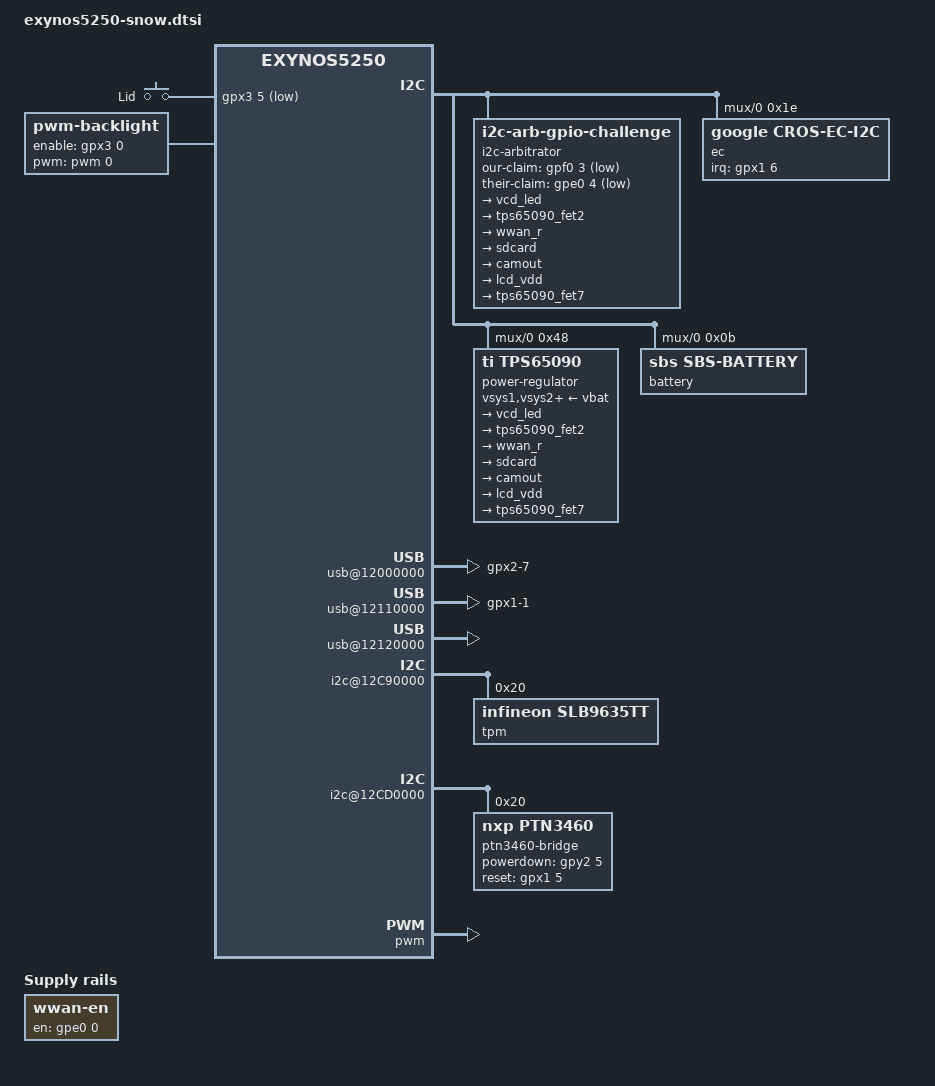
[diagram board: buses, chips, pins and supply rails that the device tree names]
/*
 * Google Snow board device tree source
 *
 * Copyright (c) 2012 Google, Inc
 *
 * This program is free software; you can redistribute it and/or modify
 * it under the terms of the GNU General Public License version 2 as
 * published by the Free Software Foundation.
*/

/ {
	aliases {
		i2c104 = &i2c_104;
	};

	pinctrl@11400000 {
		sd3_clk: sd3-clk {
			samsung,pin-drv = <0>;
		};

		sd3_cmd: sd3-cmd {
			samsung,pin-pud = <3>;
			samsung,pin-drv = <0>;
		};

		sd3_bus4: sd3-bus-width4 {
			samsung,pin-drv = <0>;
		};

		ec_irq: ec-irq {
			samsung,pins = "gpx1-6";
			samsung,pin-function = <0>;
			samsung,pin-pud = <0>;
			samsung,pin-drv = <0>;
		};

		lid_irq: lid-irq {
			samsung,pins = "gpx3-5";
			samsung,pin-function = <0>;
			samsung,pin-pud = <0>;
			samsung,pin-drv = <0>;
		};

		ptn3460_gpios: ptn3460-gpios {
			samsung,pins = "gpy2-5", "gpx1-5";
			samsung,pin-function = <1>;
			samsung,pin-pud = <0>;
			samsung,pin-drv = <0>;
		};

		tps65090_irq: tps65090-irq {
			samsung,pins = "gpx2-6";
			samsung,pin-function = <0>;
			samsung,pin-pud = <0>;
			samsung,pin-drv = <0>;
		};

		usb2_vbus_en: usb2-vbus-en {
			samsung,pins = "gpx1-1";
			samsung,pin-function = <1>;
			samsung,pin-pud = <0>;
			samsung,pin-drv = <0>;
		};

		usb3_phyclk_en: usb3-phyclk-en {
			samsung,pins = "gpy1-1";
			samsung,pin-function = <1>;
			samsung,pin-pud = <0>;
			samsung,pin-drv = <0>;
		};

		usb3_vbus_en: usb3-vbus-en {
			samsung,pins = "gpx2-7";
			samsung,pin-function = <1>;
			samsung,pin-pud = <0>;
			samsung,pin-drv = <0>;
		};

		backlight_pwm: backlight-pwm {
			samsung,pins = "gpb2-0";
			samsung,pin-function = <2>;
			samsung,pin-pud = <0>;
			samsung,pin-drv = <0>;
		};

		backlight_en: backlight-en {
			samsung,pins = "gpx3-0";
			samsung,pin-function = <1>;
			samsung,pin-pud = <0>;
			samsung,pin-drv = <0>;
		};
	};

	pinctrl@13400000 {
		arb_their_claim: arb-their-claim {
			samsung,pins = "gpe0-4";
			samsung,pin-function = <0>;
			samsung,pin-pud = <3>;
			samsung,pin-drv = <0>;
		};

		arb_our_claim: arb-our-claim {
			samsung,pins = "gpf0-3";
			samsung,pin-function = <1>;
			samsung,pin-pud = <0>;
			samsung,pin-drv = <0>;
		};

		wwan_en: wwan-en {
			samsung,pins = "gpe0-0";
			samsung,pin-function = <1>;
			samsung,pin-pud = <0>;
			samsung,pin-drv = <0>;
		};
	};

	gpio-keys {
		compatible = "gpio-keys";

		pinctrl-names = "default";
		pinctrl-0 = <&power_key_irq &lid_irq>;

		lid-switch {
			label = "Lid";
			gpios = <&gpx3 5 1>;
			linux,input-type = <5>; /* EV_SW */
			linux,code = <0>; /* SW_LID */
			debounce-interval = <1>;
			gpio-key,wakeup;
		};
	};

	dwmmc2@12220000 {
		disable-mmc;
	};

	i2c-arbitrator {
		compatible = "i2c-arb-gpio-challenge";
		#address-cells = <1>;
		#size-cells = <0>;

		i2c-parent = <&{/i2c@12CA0000}>;

		our-claim-gpio = <&gpf0 3 1>;
		their-claim-gpios = <&gpe0 4 1>;
		slew-delay-us = <10>;
		wait-retry-us = <3000>;
		wait-free-us = <50000>;

		pinctrl-names = "default";
		pinctrl-0 = <&arb_our_claim &arb_their_claim>;

		/* Use ID 104 as a hint that we're on physical bus 4 */
		i2c_104: i2c@0 {
			reg = <0>;
			#address-cells = <1>;
			#size-cells = <0>;

			ec: cros-ec@1e {
				compatible = "google,cros-ec-i2c";
				reg = <0x1e>;
				interrupts = <6 0>;
				interrupt-parent = <&gpx1>;
				pinctrl-names = "default";
				pinctrl-0 = <&ec_irq>;
				wakeup-source;

				nv-storage {
					compatible = "google,cros-ec-vbc";
				};
			};

			power-regulator {
				compatible = "ti,tps65090";
				reg = <0x48>;

				/*
				 * Config irq to disable internal pulls
				 * even though we run in polling mode.
				 */
				pinctrl-names = "default";
				pinctrl-0 = <&tps65090_irq>;

				vsys1-supply = <&vbat>;
				vsys2-supply = <&vbat>;
				vsys3-supply = <&vbat>;
				infet1-supply = <&vbat>;
				infet2-supply = <&vbat>;
				infet3-supply = <&vbat>;
				infet4-supply = <&vbat>;
				infet5-supply = <&vbat>;
				infet6-supply = <&vbat>;
				infet7-supply = <&vbat>;
				vsys-l1-supply = <&vbat>;
				vsys-l2-supply = <&vbat>;

				regulators {
					dcdc1 {
						ti,enable-ext-control;
					};
					dcdc2 {
						ti,enable-ext-control;
					};
					dcdc3 {
						ti,enable-ext-control;
					};
					fet1 {
						regulator-name = "vcd_led";
						ti,overcurrent-wait = <3>;
					};
					tps65090_fet2: fet2 {
						regulator-name = "video_mid";
						regulator-always-on;
						ti,overcurrent-wait = <3>;
					};
					fet3 {
						regulator-name = "wwan_r";
						regulator-always-on;
						ti,overcurrent-wait = <3>;
					};
					fet4 {
						regulator-name = "sdcard";
						ti,overcurrent-wait = <3>;
					};
					fet5 {
						regulator-name = "camout";
						regulator-always-on;
						ti,overcurrent-wait = <3>;
					};
					fet6 {
						regulator-name = "lcd_vdd";
						ti,overcurrent-wait = <3>;
					};
					tps65090_fet7: fet7 {
						regulator-name = "video_mid_1a";
						regulator-always-on;
						ti,overcurrent-wait = <3>;
					};
					ldo1 {
					};
					ldo2 {
					};
				};

				charger {
					compatible = "ti,tps65090-charger";
				};
			};

			battery: sbs-battery@b {
				compatible = "sbs,sbs-battery";
				reg = <0xb>;
				sbs,poll-retry-count = <1>;
				sbs,i2c-retry-count = <2>;
			};
		};
	};

	/*
	 * On Snow we've got SIP WiFi and so can keep drive strengths low to
	 * reduce EMI.
	 */
	dwmmc3@12230000 {
		/*
		 * The current best way to ensure that reset/enable and clocks
		 * are available before we try to probe the WiFi card is through
		 * a chain of regulators.
		 */
		vmmc-supply = <&wifi_en_regulator>;

		pinctrl-names = "default";
		pinctrl-0 = <&sd3_clk &sd3_cmd &sd3_bus4>;
		edge-triggered-interrupts;
	};

	wwan-en {
		compatible = "regulator-fixed";
		regulator-name = "wwan-en";
		gpio = <&gpe0 0 0>;
		enable-active-high;
		regulator-boot-on;
		regulator-always-on;
		pinctrl-names = "default";
		pinctrl-0 = <&wwan_en>;
	};

	usb@12000000 {
		samsung,vbus-gpio = <&gpx2 7 0>;
		status = "okay";
		pinctrl-names = "default";
		pinctrl-0 = <&usb3_vbus_en>;
	};

	usbphy@12100000 {
		samsung,phyclk-gpio = <&gpy1 1 0>;
		pinctrl-names = "default";
		pinctrl-0 = <&usb3_phyclk_en>;
	};

	usb@12110000 {
		samsung,vbus-gpio = <&gpx1 1 0>;
		status = "okay";
		pinctrl-names = "default";
		pinctrl-0 = <&usb2_vbus_en>;
	};

	usb@12120000 {
		status = "okay";
	};

	fimd {
		samsung,fimd-vidout-rgb;
		samsung,fimd-inv-vclk;
		samsung,default-window = <0>;
		samsung,cursor-window = <4>;
		samsung,fimd-win-bpp = <32>;
		samsung,fimd-src-clk-rate = <70500000>;
		samsung,use-mie-dithering;
	};

	lcd_dp0: lcd_panel0 {
		lcd-htiming = <40 40 32 1366>;
		lcd-vtiming = <10 12 6 768>;
		lcd-dimensions = <256 144>;
	};

	display-port-controller {
		samsung,dp-display = <&lcd_dp0>;
		samsung,dp-frame-rate = <60>;
		samsung,color-space = <0>;
		samsung,dynamic-range = <0>;
		samsung,ycbcr-coeff = <0>;
		samsung,color-depth = <1>;
		samsung,link-rate = <0x0a>;
		samsung,lane-count = <2>;
	};

	hdmi {
		hdmi-en-supply = <&tps65090_fet7>;
		vdd-supply = <&ldo8_reg>;
		vdd_osc-supply = <&ldo10_reg>;
		vdd_pll-supply = <&ldo8_reg>;
	};

	backlight {
		compatible = "pwm-backlight";
		pwms = <&pwm 0 1000000 0>;
		max-brightness = <2800>;
		default-brightness-level = <2800>;
		enable-gpio = <&gpx3 0 0>;
		pinctrl-0 = <&backlight_pwm &backlight_en>;
		pinctrl-names = "default";
	};

	i2c@12C90000 {
		tpm {
			compatible = "infineon,slb9635tt";
			reg = <0x20>;
		};
	};

	lcd_display_timings: display-timings {
		native-mode = <&timing0>;
		timing0: 1366x768 {
			clock-frequency = <70589280>;
			hactive = <1366>;
			vactive = <768>;
			hfront-porch = <40>;
			hback-porch = <40>;
			hsync-len = <32>;
			vback-porch = <10>;
			vfront-porch = <12>;
			vsync-len = <6>;
		};
	};

	i2c@12CD0000 {
		ptn3460-bridge@20 {
			compatible = "nxp,ptn3460";
			reg = <0x20>;
			powerdown-gpio = <&gpy2 5 0>;
			reset-gpio = <&gpx1 5 0>;
			edid-emulation = <5>;
			pinctrl-names = "default";
			pinctrl-0 = <&ptn3460_gpios>;
			display-timings = <&lcd_display_timings>;
		};
	};

	fixed-rate-clocks {
		xxti {
			compatible = "samsung,clock-xxti";
			clock-frequency = <24000000>;
		};
	};

	pinctrl@11400000 {
		gpa0: gpa0 {
			powerdown-settings = <6 6 6 6 3 3 2 2>;
		};
		gpa1: gpa1 {
			powerdown-settings = <3 3 2 2 3 3>;
		};
		gpa2: gpa2 {
			powerdown-settings = <2 2 2 2 3 2 2 2>;
		};
		gpb0: gpb0 {
			powerdown-settings = <3 3 3 3 3>;
		};
		gpb1: gpb1 {
			powerdown-settings = <3 3 3 3 3>;
		};
		gpb2: gpb2 {
			powerdown-settings = <3 3 2 2>;
		};
		gpb3: gpb3 {
			powerdown-settings = <2 2 2 2>;
		};
		gpc0: gpc0 {
			powerdown-settings = <6 2 2 2 2 2 2>;
		};
		gpc1: gpc1 {
			powerdown-settings = <2 2 2 2>;
		};
		gpc2: gpc2 {
			powerdown-settings = <3 1 3 3 3 3 3>;
		};
		gpc3: gpc3 {
			powerdown-settings = <6 2 1 2 2 2 2>;
		};
		gpc4: gpc4 {
			powerdown-settings = <6 2 3 2 2 2 2>;
		};
		gpd0: gpd0 {
			powerdown-settings = <6 6 3 3>;
		};
		gpd1: gpd1 {
			powerdown-settings = <6 6 6 3 3 6 1 1>;
		};
		gpy0: gpy0 {
			powerdown-settings = <3 3 6 3 3 3>;
		};
		gpy1: gpy1 {
			powerdown-settings = <5 3 3 3>;
		};
		gpy2: gpy2 {
			powerdown-settings = <3 3 3 3 3 2>;
		};
		gpy3: gpy3 {
			powerdown-settings = <3 3 3 3 3 3 3 3>;
		};
		gpy4: gpy4 {
			powerdown-settings = <3 3 3 3 3 3 3 3>;
		};
		gpy5: gpy5 {
			powerdown-settings = <3 3 3 3 3 3 3 3>;
		};
		gpy6: gpy6 {
			powerdown-settings = <3 3 3 3 3 3 3 3>;
		};
	};
	pinctrl@13400000 {
		gpe0: gpe0 {
			powerdown-settings = <5 3 3 3 2 2 3 3>;
		};
		gpe1: gpe1 {
			powerdown-settings = <5 3>;
		};
		gpf0: gpf0 {
			powerdown-settings = <3 3 1 2>;
		};
		gpf1: gpf1 {
			powerdown-settings = <3 3 3 3>;
		};
		gpg0: gpg0 {
			powerdown-settings = <3 3 3 3 3 3 3 3>;
		};
		gpg1: gpg1 {
			powerdown-settings = <3 3 3 3 3 3 3 3>;
		};
		gpg2: gpg2 {
			powerdown-settings = <3 3>;
		};
		gph0: gph0 {
			powerdown-settings = <3 3 3 3>;
		};
		gph1: gph1 {
			powerdown-settings = <3 3 3 3 3 3 3 3>;
		};
	};
	pinctrl@10d10000 {
		gpv0: gpv0 {
			powerdown-settings = <3 3 3 3 3 3 3 3>;
		};
		gpv1: gpv1 {
			powerdown-settings = <3 3 3 3 3 3 3 3>;
		};
		gpv2: gpv2 {
			powerdown-settings = <3 3 3 3 3 3 3 3>;
		};
		gpv3: gpv3 {
			powerdown-settings = <3 3 3 3 3 3 3 3>;
		};
		gpv4: gpv4 {
			powerdown-settings = <3 3>;
		};
	};
	pinctrl@03860000 {
		gpz: gpz {
			powerdown-settings = <6 3 6 6 6 3 3>;
		};
	};

};

&pwm {
	status = "okay";
};
